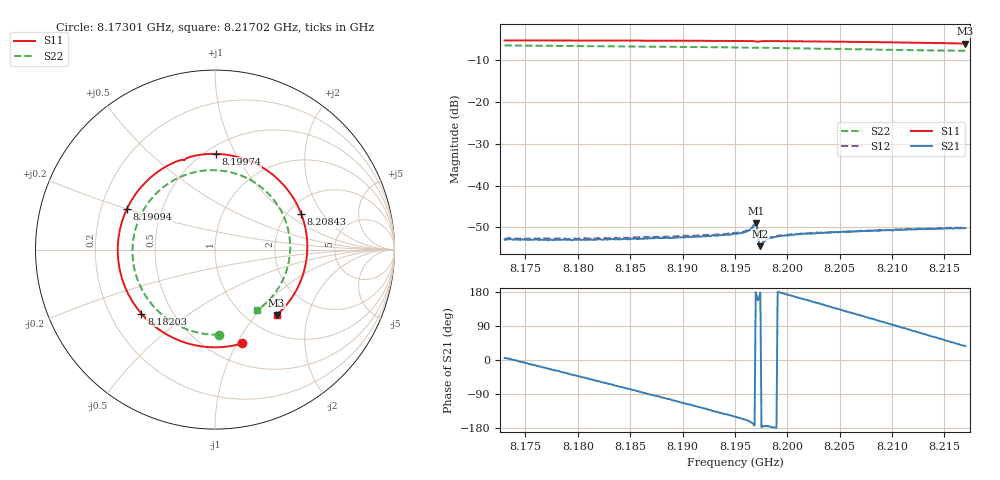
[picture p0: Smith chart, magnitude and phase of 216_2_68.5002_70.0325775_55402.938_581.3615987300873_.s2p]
#  HZ  S  RI  R  50.00
! Rohde & Schwarz Vector Network Analyzer
! Rohde-Schwarz,ZNB20-2Port,1311601062101988,3.16
! Created: UTC 3/20/2024, 4:58:14 PM
! freq[Hz]  re:S11  im:S11  re:S21  im:S21  re:S12  im:S12  re:S22  im:S22
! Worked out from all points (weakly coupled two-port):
!   401 points, 8.17301 GHz to 8.21702 GHz, reference 50 ohm
!   highest |S21| = -49.03 dB at 8.19699 GHz (marker M1); lowest = -54.5 dB at 8.19743 GHz (marker M2)
!   lowest |S11| = -6.0 dB at 8.21702 GHz (marker M3), VSWR 3.00, Z = 66.3 - j64.6 ohm
!   |S11| at or under -10 dB: nowhere
!   |S22| runs from -7.7 to -6.5 dB; largest |S21 - S12| = 0.00018
!   S11 on the Smith chart (normalised r, x): 8.17301 GHz: 0.71, -1.06; 8.18203 GHz: 0.33, -0.34; 8.19094 GHz: 0.31, +0.20; 8.19974 GHz: 0.56, +0.84; 8.20843 GHz: 2.36, +1.28; 8.21702 GHz: 1.33, -1.29
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8.17301e9  0.1531 -0.5226  0.00224 0.000219  0.00229 0.000251  0.0207 -0.4744
8.176641e9  -0.093 -0.5363  0.00213 -0.000751  0.00217 -0.000756  -0.1805 -0.4342
8.180381e9  -0.3271 -0.4343  0.00157 -0.00161  0.00163 -0.00168  -0.3482 -0.3096
8.182031e9  -0.4103 -0.3562  0.00126 -0.00191  0.00127 -0.00199  -0.401 -0.234
8.185002e9  -0.5126 -0.1784  0.000525 -0.00224  0.000481 -0.00233  -0.4546 -0.0784
8.187752e9  -0.5417 0.0104  -0.000227 -0.00234  -0.000348 -0.00241  -0.4525 0.0737
8.190942e9  -0.4907 0.2264  -0.00122 -0.00213  -0.00127 -0.00216  -0.388 0.2375
8.195013e9  -0.3071 0.4416  -0.00228 -0.00135  -0.00241 -0.00131  -0.2231 0.3902
8.196223e9  -0.232 0.4838  -0.00268 -0.000987  -0.00276 -0.000884  -0.1609 0.4176
8.196883e9  -0.1853 0.4996  -0.00337 -0.000409  -0.00343 -0.000268  -0.1254 0.4284
8.196993e9  -0.177 0.4994  -0.00354 6.61e-05  -0.0036 0.000217  -0.1192 0.4299
8.197433e9  -0.158 0.5092  -0.00188 7.74e-05  -0.00188 0.000144  -0.0954 0.4351
8.197543e9  -0.1501 0.5126  -0.00194 -8.96e-05  -0.002 -3.21e-05  -0.0893 0.4363
8.198423e9  -0.0875 0.5277  -0.00236 -0.000167  -0.00242 -7.02e-05  -0.0397 0.442
8.199744e9  0.00611 0.5334  -0.00251 0.000223  -0.00254 0.00037  0.0352 0.44
8.202384e9  0.1879 0.4957  -0.0024 0.00114  -0.00241 0.00126  0.1792 0.3978
8.205244e9  0.357 0.3861  -0.00185 0.00211  -0.00178 0.00215  0.3103 0.298
8.208435e9  0.4808 0.198  -0.000806 0.00279  -0.000741 0.00284  0.4017 0.1341
8.209755e9  0.506 0.1074  -0.000283 0.00292  -0.000206 0.00294  0.4169 0.0563
8.211515e9  0.5132 -0.0182  0.00044 0.00295  0.000546 0.00298  0.4143 -0.0505
8.213275e9  0.4894 -0.142  0.00118 0.00277  0.00128 0.0028  0.3843 -0.1549
8.217016e9  0.3428 -0.3647  0.00248 0.00184  0.0026 0.00176  0.2363 -0.3361
